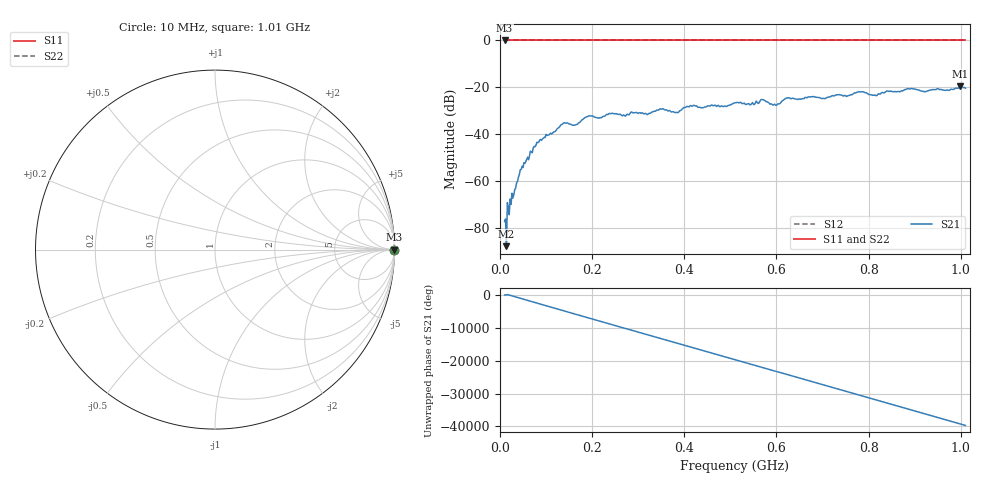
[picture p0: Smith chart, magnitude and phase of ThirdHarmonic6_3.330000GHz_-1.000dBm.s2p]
! 8/17/2025 10:27:33 AM
! C:\ANRITSUVNA\TEMP\TEMP.S2P
! CHANNEL.1
! TR.MEASUREMENT
! RAW.DATA
! RF.CORRECTION.OFF
! AVERAGING.OFF
! IF.BANDWIDTH: 5KHZ
! SWEEPTYPE:  FREQ.SWEEP(Linear)
! Reference Plane Port Info
! PORT:  PORT1  PORT2
! DISTANCE:  0  m  0  m
! TIME:  0  s  0  s
! PHASE.OFFSET:  0  deg.  0  deg.
! LOSS:  0  dB  0  dB
! REF.LOSS:  0  dB  0  dB
! REF.FREQ:  0  Hz  0  Hz
! Power Info
! POWER:  -20  dBm  -20  dBm
! EFF.POWER:  -20  dBm  -20  dBm
! SOURCE.ATTEN:  0  dB  0  dB
! TEST.ATTEN:  0  dB  0  dB
# GHZ S RI R 50.0
! FREQ.GHZ  S11RE  S11IM  S21RE  S21IM  S12RE  S12IM  S22RE  S22IM
!; PortSelection: Port_12
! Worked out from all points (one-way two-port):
!   501 points, 10 MHz to 1.01 GHz, reference 50 ohm
!   highest |S21| = -19.64 dB at 998 MHz (marker M1); lowest = -87.8 dB at 14 MHz (marker M2)
!   lowest |S11| = 0.0 dB at 10 MHz (marker M3)
!   |S11| at or under -10 dB: nowhere
!   |S22| runs from 0.0 to 0.0 dB; largest |S21 - S12| = 1.1
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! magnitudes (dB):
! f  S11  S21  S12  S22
! 10 MHz  0.0  -77.3  0.0  0.0
! 14 MHz  0.0  -87.8  0.0  0.0
! 44 MHz  0.0  -55.2  0.0  0.0
! 76 MHz  0.0  -45.4  0.0  0.0
! 136 MHz  0.0  -35.6  0.0  0.0
! 162 MHz  0.0  -36.1  0.0  0.0
! 178 MHz  0.0  -33.9  0.0  0.0
! 196 MHz  0.0  -32.2  0.0  0.0
! 322 MHz  0.0  -31.3  0.0  0.0
! 344 MHz  0.0  -29.7  0.0  0.0
! 384 MHz  0.0  -30.7  0.0  0.0
! 416 MHz  0.0  -28.1  0.0  0.0
! 510 MHz  0.0  -26.6  0.0  0.0
! 570 MHz  0.0  -25.3  0.0  0.0
! 596 MHz  0.0  -27.2  0.0  0.0
! 624 MHz  0.0  -24.5  0.0  0.0
! 678 MHz  0.0  -24.0  0.0  0.0
! 782 MHz  0.0  -21.9  0.0  0.0
! 814 MHz  0.0  -23.3  0.0  0.0
! 844 MHz  0.0  -21.8  0.0  0.0
! 998 MHz  0.0  -19.6  0.0  0.0
! 1.01 GHz  0.0  -20.4  0.0  0.0
